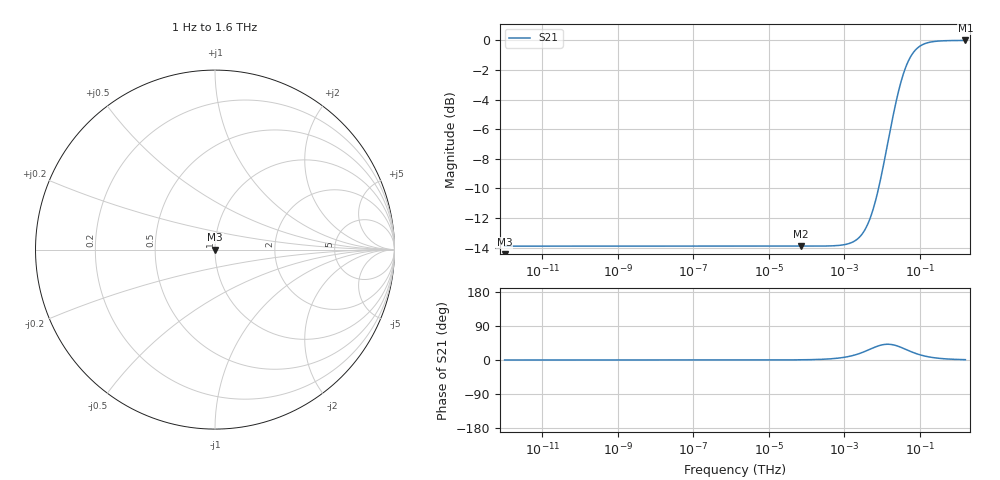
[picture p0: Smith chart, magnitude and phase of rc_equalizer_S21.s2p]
! RC peaking equalizer  S21(f) = H_eq(f)/H_base(f)
! source: documented reference table (PIPELINE.md / run_full_eye_analysis derivation)
# Hz S RI R 50
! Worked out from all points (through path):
!   801 points, 1 Hz to 1.6 THz, reference 50 ohm
!   highest |S21| = 0.00 dB at 1.6 THz (marker M1); lowest = -13.9 dB at 68.9 MHz (marker M2)
!   lowest |S11| = - dB at 1 Hz (marker M3), VSWR 1.00, Z = 50 + j0 ohm
!   |S11| at or under -10 dB: start of sweep to end of sweep
!   S12 and S22 are empty: the file has one direction only
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1  0 0  0.202 2.43e-11  0 0  0 0
1000  0 0  0.202 2.43e-08  0 0  0 0
11784.69  0 0  0.202 2.87e-07  0 0  0 0
1289075  0 0  0.202 3.14e-05  0 0  0 0
6.889866e7  0 0  0.2019 0.00174  0 0  0 0
1.373153e8  0 0  0.2019 0.0035  0 0  0 0
9.271e8  0 0  0.2026 0.0237  0 0  0 0
1.847715e9  0 0  0.2047 0.0471  0 0  0 0
3.058485e9  0 0  0.2095 0.0775  0 0  0 0
4.43384e9  0 0  0.2177 0.1112  0 0  0 0
6.427672e9  0 0  0.2344 0.1578  0 0  0 0
1.008988e10  0 0  0.2775 0.2337  0 0  0 0
1.502032e10  0 0  0.3521 0.312  0 0  0 0
2.421203e10  0 0  0.5019 0.3866  0 0  0 0
3.509982e10  0 0  0.6478 0.3963  0 0  0 0
5.810002e10  0 0  0.8214 0.3326  0 0  0 0
7.376532e10  0 0  0.8789 0.2863  0 0  0 0
9.61718e10  0 0  0.924 0.2342  0 0  0 0
1.591912e11  0 0  0.9705 0.1506  0 0  0 0
3.08964e11  0 0  0.9919 0.0798  0 0  0 0
6.323183e11  0 0  0.9981 0.0393  0 0  0 0
1.6e12  0 0  0.9997 0.0156  0 0  0 0
